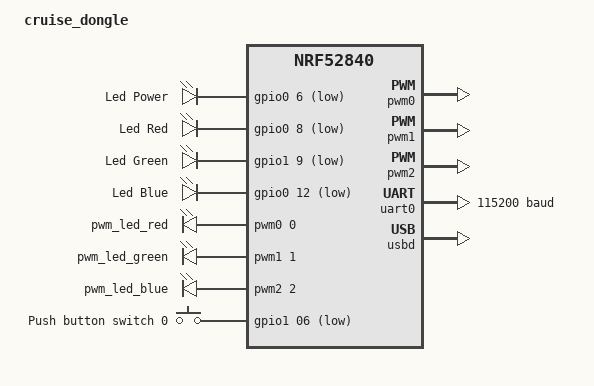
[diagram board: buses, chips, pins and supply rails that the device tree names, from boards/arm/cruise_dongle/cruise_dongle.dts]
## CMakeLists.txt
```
cmake_minimum_required(VERSION 3.20.0)
find_package(Zephyr REQUIRED HINTS $ENV{ZEPHYR_BASE})

project(smp_dfu)

target_sources(app PRIVATE src/main.c)
```

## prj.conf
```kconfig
CONFIG_BOOTLOADER_MCUBOOT=y
CONFIG_GPIO=y
```

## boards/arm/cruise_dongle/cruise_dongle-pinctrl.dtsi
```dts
&pinctrl {
	pwm0_default: pwm0_default {
		group1 {
			psels = <NRF_PSEL(PWM_OUT0, 0, 8)>;
			nordic,invert;
		};
	};

	pwm0_sleep: pwm0_sleep {
		group1 {
			psels = <NRF_PSEL(PWM_OUT0, 0, 8)>;
			low-power-enable;
		};
	};

	pwm1_default: pwm1_default {
		group1 {
			psels = <NRF_PSEL(PWM_OUT1, 1, 9)>;
			nordic,invert;
		};
	};

	pwm1_sleep: pwm1_sleep {
		group1 {
			psels = <NRF_PSEL(PWM_OUT1, 1, 9)>;
			low-power-enable;
		};
	};

	pwm2_default: pwm2_default {
		group1 {
			psels = <NRF_PSEL(PWM_OUT2, 0, 12)>;
			nordic,invert;
		};
	};

	pwm2_sleep: pwm2_sleep {
		group1 {
			psels = <NRF_PSEL(PWM_OUT2, 0, 12)>;
			low-power-enable;
		};
	};
	
	uart0_default: uart0_default {
		group1 {
			psels = <NRF_PSEL(UART_TX, 0, 29)>;
				// <NRF_PSEL(UART_RTS, 1, 15)>;
		};
		group2 {
			psels = <NRF_PSEL(UART_RX, 0, 31)>;
				// <NRF_PSEL(UART_CTS, 0, 02)>;
			bias-pull-up;
		};
	};

	uart0_sleep: uart0_sleep {
		group1 {
			psels = <NRF_PSEL(UART_TX, 0, 29)>,
				<NRF_PSEL(UART_RX, 0, 31)>;
				// <NRF_PSEL(UART_RTS, 1, 15)>,
				// <NRF_PSEL(UART_CTS, 0, 02)>;
			low-power-enable;
		};
	};
};
```

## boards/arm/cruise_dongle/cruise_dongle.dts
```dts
// Copyright (c) 2023 Nordic Semiconductor ASA
// SPDX-License-Identifier: Apache-2.0

/dts-v1/;
#include <nordic/nrf52840_qiaa.dtsi>
#include "cruise_dongle-pinctrl.dtsi"
#include <zephyr/dt-bindings/input/input-event-codes.h>

/ {
	model = "cruise_dongle";
	compatible = "ardesia,cruise_dongle";

	chosen {
		zephyr,sram = &sram0;
		zephyr,flash = &flash0;
		zephyr,code-partition = &slot0_partition;
		zephyr,uart-mcumgr = &uart0;
	};

	leds {
		compatible = "gpio-leds";

		led_power: led_0 {
			gpios = < &gpio0 6 GPIO_ACTIVE_LOW >;
			label = "Led Power";
		};

		led_red: led_1 {
			gpios = < &gpio0 8 GPIO_ACTIVE_LOW>;
			label = "Led Red";
		};

		led_green: led_2 {
			gpios = < &gpio1 9 GPIO_ACTIVE_LOW >;
			label = "Led Green";
		};

		led_blue: led_3 {
			gpios = < &gpio0 12 GPIO_ACTIVE_LOW >;
			label = "Led Blue";
		};
	};

	pwmleds {
		compatible = "pwm-leds";

		pwm_led_red: pwm_led_red {
			pwms = <&pwm0 0 PWM_MSEC(20) PWM_POLARITY_INVERTED>;
		};

		pwm_led_green: pwm_led_green {
			pwms = <&pwm1 1 PWM_MSEC(20) PWM_POLARITY_INVERTED>;
		};

		pwm_led_blue: pwm_led_blue {
			pwms = <&pwm2 2 PWM_MSEC(20) PWM_POLARITY_INVERTED>;
		};
	};

	buttons {
		compatible = "gpio-keys";
		button0: button_0 {
			gpios = <&gpio1 06 (GPIO_PULL_UP | GPIO_ACTIVE_LOW)>;
			label = "Push button switch 0";
			zephyr,code = <INPUT_KEY_0>;
		};
	};

	aliases {
		mcuboot-button0 = &button0;
		mcuboot-led0 = &led_blue;
	};
};

&gpio1 {
	status = "okay";
};

&gpio0 {
	status = "okay";
};

&pwm0 {
	status = "okay";
	pinctrl-0 = <&pwm0_default>;
	pinctrl-1 = <&pwm0_sleep>;
	pinctrl-names = "default", "sleep";
};

&pwm1 {
	status = "okay";
	pinctrl-0 = <&pwm1_default>;
	pinctrl-1 = <&pwm1_sleep>;
	pinctrl-names = "default", "sleep";
};

&pwm2 {
	status = "okay";
	pinctrl-0 = <&pwm2_default>;
	pinctrl-1 = <&pwm2_sleep>;
	pinctrl-names = "default", "sleep";
};

&uart0 {
	compatible = "nordic,nrf-uarte";
	status = "okay";
	current-speed = <115200>;
	pinctrl-0 = <&uart0_default>;
	pinctrl-1 = <&uart0_sleep>;
	pinctrl-names = "default", "sleep";
};

&flash0 {
	partitions {
		compatible = "fixed-partitions";
		#address-cells = <1>;
		#size-cells = <1>;

		boot_partition: partition@0 {
			label = "mcuboot";
			reg = <0x0 0xc000>;
		};
		slot0_partition: partition@c000 {
			label = "image-0";
			reg = <0xc000 0x72000>;
		};
		slot1_partition: partition@7e000 {
			label = "image-1";
			reg = <0x7e000 0x72000>;
		};
		scratch_partition: partition@f0000 {
			label = "image-scratch";
			reg = <0xf0000 0xa000>;
		};
		storage_partition: partition@fa000 {
			label = "storage";
			reg = <0xfa000 0x6000>;
		};
	};
};

zephyr_udc0: &usbd {
	compatible = "nordic,nrf-usbd";
	status = "okay";
};
```

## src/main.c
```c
#include <zephyr/kernel.h>
#include <zephyr/drivers/gpio.h>

static const struct gpio_dt_spec ledRed = GPIO_DT_SPEC_GET(DT_NODELABEL( led_red ), gpios);
static const struct gpio_dt_spec ledBlue = GPIO_DT_SPEC_GET(DT_NODELABEL( led_blue ), gpios);
static const struct gpio_dt_spec ledGreen = GPIO_DT_SPEC_GET(DT_NODELABEL( led_green ), gpios);

void main(void)
{
    int ret;

    if (!device_is_ready(ledRed.port) || !device_is_ready(ledBlue.port) || !device_is_ready(ledGreen.port)) {
        return;
    }

    ret = gpio_pin_configure_dt(&ledRed, GPIO_OUTPUT_ACTIVE);
    if (ret < 0) {
        return;
    }

    ret = gpio_pin_configure_dt(&ledBlue, GPIO_OUTPUT_INACTIVE);
    if (ret < 0) {
        return;
    }

    ret = gpio_pin_configure_dt(&ledGreen, GPIO_OUTPUT_INACTIVE);
    if (ret < 0) {
        return;
    }

    while (1) {
        ret = gpio_pin_toggle_dt(&ledRed);
        if (ret < 0) {
            return;
        }
        k_msleep(1000);
    }
}
```
